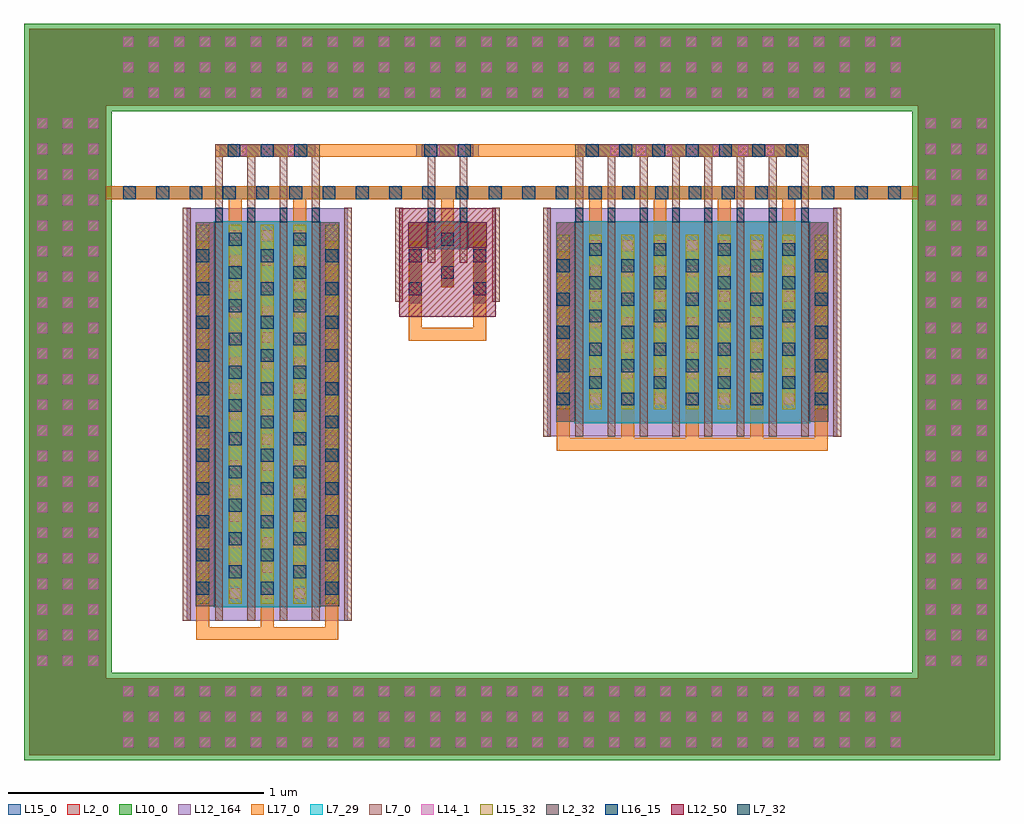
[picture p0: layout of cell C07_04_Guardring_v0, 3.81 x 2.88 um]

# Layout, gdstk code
import gdstk
lib = gdstk.Library(unit=1e-6, precision=1e-09)
def R(c, l, rs):  # rectangles x0, y0, x1, y1
    for r in rs: c.add(gdstk.rectangle(r[:2], r[2:], *l))
def A(c, l, x, y, w, h, nx, ny, dx, dy):  # array of equal rectangles
    R(c, l, [(x+i*dx, y+j*dy, x+i*dx+w, y+j*dy+h) for i in range(nx) for j in range(ny)])
L2_0 = (2, 0)
L2_32 = (2, 32)
L7_0 = (7, 0)
L7_29 = (7, 29)
L7_32 = (7, 32)
L10_0 = (10, 0)
L12_50 = (12, 50)
L12_164 = (12, 164)
L14_1 = (14, 1)
L15_0 = (15, 0)
L15_32 = (15, 32)
L16_15 = (16, 15)
L17_0 = (17, 0)

c07_04_guardring_v0_srf_ = lib.new_cell('C07_04_Guardring_v0:SRF_Tr12Tr3Tr10:SRF_Tr12:SRF_Source_ViaM1M2:SRF_ViaM1M2')
R(c07_04_guardring_v0_srf_, L15_0, [(0,-1.332,0.05,0.082)])
A(c07_04_guardring_v0_srf_, L16_15, 0, -1.3, 0.05, 0.05, 1, 11, 0, 0.13)
R(c07_04_guardring_v0_srf_, L17_0, [(0,-1.332,0.05,0.082)])

c_c07_04_guardring_v0_srf_ = lib.new_cell('C07_04_Guardring_v0:SRF_Tr12Tr3Tr10:SRF_Tr12:SRF_Source_ViaM1M2')
c_c07_04_guardring_v0_srf_.add(gdstk.Reference(c07_04_guardring_v0_srf_, (-0.025,0.625)))

c_c07_04_guardring_v0_srf__ = lib.new_cell('C07_04_Guardring_v0:SRF_Tr12Tr3Tr10:SRF_Tr12:SRF_Drain_ViaM1M2:SRF_ViaM1M2')
R(c_c07_04_guardring_v0_srf__, L15_0, [(0,-1.332,0.05,0.082)])
A(c_c07_04_guardring_v0_srf__, L16_15, 0, -1.3, 0.05, 0.05, 1, 11, 0, 0.13)
R(c_c07_04_guardring_v0_srf__, L17_0, [(0,-1.332,0.05,0.082)])

c_c07_04_guardring_v0_srf___ = lib.new_cell('C07_04_Guardring_v0:SRF_Tr12Tr3Tr10:SRF_Tr12:SRF_Drain_ViaM1M2')
c_c07_04_guardring_v0_srf___.add(gdstk.Reference(c_c07_04_guardring_v0_srf__, (-0.025,0.625)))

c_c07_04_guardring_v0_srf____ = lib.new_cell('C07_04_Guardring_v0:SRF_Tr12Tr3Tr10:SRF_Tr12:SRF_Gate_ViaM0Mx:SRF_ViaM0M1')
R(c_c07_04_guardring_v0_srf____, L7_0, [(-0.01,-0.004,0.25,0.044)])
A(c_c07_04_guardring_v0_srf____, L14_1, 0, 0, 0.04, 0.04, 3, 1, 0.1, 0)
R(c_c07_04_guardring_v0_srf____, L15_0, [(-0.021,-0.005,0.261,0.045)])

c_c07_04_guardring_v0_srf_____ = lib.new_cell('C07_04_Guardring_v0:SRF_Tr12Tr3Tr10:SRF_Tr12:SRF_Gate_ViaM0Mx:SRF_ViaM1M2')
R(c_c07_04_guardring_v0_srf_____, L15_0, [(-0.032,0,0.342,0.05)])
A(c_c07_04_guardring_v0_srf_____, L16_15, 0, 0, 0.05, 0.05, 3, 1, 0.13, 0)
R(c_c07_04_guardring_v0_srf_____, L17_0, [(-0.032,0,0.342,0.05)])

c_c07_04_guardring_v0_srf______ = lib.new_cell('C07_04_Guardring_v0:SRF_Tr12Tr3Tr10:SRF_Tr12:SRF_Gate_ViaM0Mx')
c_c07_04_guardring_v0_srf______.add(gdstk.Reference(c_c07_04_guardring_v0_srf____, (-0.12,-0.02)))
c_c07_04_guardring_v0_srf______.add(gdstk.Reference(c_c07_04_guardring_v0_srf_____, (-0.155,-0.025)))

c_c07_04_guardring_v0_srf_______ = lib.new_cell('C07_04_Guardring_v0:SRF_Tr12Tr3Tr10:SRF_Tr12')
R(c_c07_04_guardring_v0_srf_______, L2_0, [(-0.076,0.057,0.484,1.557)])
R(c_c07_04_guardring_v0_srf_______, L2_32, [(-0.076,0.057,0,1.557), (0.408,0.057,0.484,1.557)])
A(c_c07_04_guardring_v0_srf_______, L7_0, -0.126, 0, 0.03, 1.614, 6, 1, 0.126, 0)
A(c_c07_04_guardring_v0_srf_______, L7_0, 0, 1.614, 0.03, 0.2, 4, 1, 0.126, 0)
R(c_c07_04_guardring_v0_srf_______, L7_0, [(0,1.814,0.408,1.862)])
R(c_c07_04_guardring_v0_srf_______, L7_29, [(-0.005,0.052,0.413,1.562)])
A(c_c07_04_guardring_v0_srf_______, L7_32, 0, 1.557, 0.03, 0.057, 4, 1, 0.126, 0)
R(c_c07_04_guardring_v0_srf_______, L12_164, [(-0.111,0.001,0.519,1.613)])
A(c_c07_04_guardring_v0_srf_______, L14_1, -0.068, 0.087, 0.04, 0.04, 5, 15, 0.126, 0.1)
R(c_c07_04_guardring_v0_srf_______, L15_0, [(-0.073,0.066,-0.023,1.548), (-0.073,0.066,-0.023,1.548), (0.053,0.066,0.103,1.548), (0.053,0.066,0.103,1.548), (0.179,0.066,0.229,1.548), (0.179,0.066,0.229,1.548), (0.305,0.066,0.355,1.548), (0.305,0.066,0.355,1.548), (0.431,0.066,0.481,1.548), (0.431,0.066,0.481,1.548)])
A(c_c07_04_guardring_v0_srf_______, L15_32, -0.073, 0.066, 0.05, 1.482, 5, 1, 0.126, 0)
A(c_c07_04_guardring_v0_srf_______, L17_0, -0.073, -0.025, 0.05, 1.509, 3, 1, 0.252, 0)
R(c_c07_04_guardring_v0_srf_______, L17_0, [(-0.073,-0.075,0.481,-0.025), (0.053,1.548,0.103,1.648), (0.305,1.548,0.355,1.648), (0.053,1.648,0.355,1.698), (0,1.813,0.408,1.863)])
c_c07_04_guardring_v0_srf_______.add(gdstk.Reference(c_c07_04_guardring_v0_srf_, (-0.048,0.777)))
c_c07_04_guardring_v0_srf_______.add(gdstk.Reference(c_c07_04_guardring_v0_srf_, (0.204,0.777)))
c_c07_04_guardring_v0_srf_______.add(gdstk.Reference(c_c07_04_guardring_v0_srf_, (0.456,0.777)))
c_c07_04_guardring_v0_srf_______.add(gdstk.Reference(c_c07_04_guardring_v0_srf___, (0.078,0.841)))
c_c07_04_guardring_v0_srf_______.add(gdstk.Reference(c_c07_04_guardring_v0_srf___, (0.33,0.841)))
c_c07_04_guardring_v0_srf_______.add(gdstk.Reference(c_c07_04_guardring_v0_srf______, (0.204,1.838)))

c_c07_04_guardring_v0_srf________ = lib.new_cell('C07_04_Guardring_v0:SRF_Tr12Tr3Tr10:SRF_Tr3:SRF_Source_ViaM1M2:SRF_ViaM1M2')
R(c_c07_04_guardring_v0_srf________, L15_0, [(0,-0.162,0.05,0.082)])
R(c_c07_04_guardring_v0_srf________, L16_15, [(0,-0.13,0.05,-0.08), (0,0,0.05,0.05)])
R(c_c07_04_guardring_v0_srf________, L17_0, [(0,-0.162,0.05,0.082)])

c_c07_04_guardring_v0_srf_________ = lib.new_cell('C07_04_Guardring_v0:SRF_Tr12Tr3Tr10:SRF_Tr3:SRF_Source_ViaM1M2')
c_c07_04_guardring_v0_srf_________.add(gdstk.Reference(c_c07_04_guardring_v0_srf________, (-0.025,0.04)))

c_c07_04_guardring_v0_srf__________ = lib.new_cell('C07_04_Guardring_v0:SRF_Tr12Tr3Tr10:SRF_Tr3:SRF_Drain_ViaM1M2:SRF_ViaM1M2')
R(c_c07_04_guardring_v0_srf__________, L15_0, [(0,-0.162,0.05,0.082)])
R(c_c07_04_guardring_v0_srf__________, L16_15, [(0,-0.13,0.05,-0.08), (0,0,0.05,0.05)])
R(c_c07_04_guardring_v0_srf__________, L17_0, [(0,-0.162,0.05,0.082)])

c_c07_04_guardring_v0_srf___________ = lib.new_cell('C07_04_Guardring_v0:SRF_Tr12Tr3Tr10:SRF_Tr3:SRF_Drain_ViaM1M2')
c_c07_04_guardring_v0_srf___________.add(gdstk.Reference(c_c07_04_guardring_v0_srf__________, (-0.025,0.04)))

c_c07_04_guardring_v0_srf____________ = lib.new_cell('C07_04_Guardring_v0:SRF_Tr12Tr3Tr10:SRF_Tr3:SRF_Gate_ViaM0Mx:SRF_ViaM0M1')
R(c_c07_04_guardring_v0_srf____________, L7_0, [(-0.01,-0.004,0.15,0.044)])
R(c_c07_04_guardring_v0_srf____________, L14_1, [(0,0,0.04,0.04), (0.1,0,0.14,0.04)])
R(c_c07_04_guardring_v0_srf____________, L15_0, [(-0.021,-0.005,0.161,0.045)])

c_c07_04_guardring_v0_srf_____________ = lib.new_cell('C07_04_Guardring_v0:SRF_Tr12Tr3Tr10:SRF_Tr3:SRF_Gate_ViaM0Mx:SRF_ViaM1M2')
R(c_c07_04_guardring_v0_srf_____________, L15_0, [(-0.032,0,0.212,0.05)])
R(c_c07_04_guardring_v0_srf_____________, L16_15, [(0,0,0.05,0.05), (0.13,0,0.18,0.05)])
R(c_c07_04_guardring_v0_srf_____________, L17_0, [(-0.032,0,0.212,0.05)])

c_c07_04_guardring_v0_srf______________ = lib.new_cell('C07_04_Guardring_v0:SRF_Tr12Tr3Tr10:SRF_Tr3:SRF_Gate_ViaM0Mx')
c_c07_04_guardring_v0_srf______________.add(gdstk.Reference(c_c07_04_guardring_v0_srf____________, (-0.07,-0.02)))
c_c07_04_guardring_v0_srf______________.add(gdstk.Reference(c_c07_04_guardring_v0_srf_____________, (-0.09,-0.025)))

c_c07_04_guardring_v0_srf_______________ = lib.new_cell('C07_04_Guardring_v0:SRF_Tr12Tr3Tr10:SRF_Tr3')
R(c_c07_04_guardring_v0_srf_______________, L2_0, [(-0.076,0.057,0.232,0.157)])
R(c_c07_04_guardring_v0_srf_______________, L2_32, [(-0.076,0.057,0,0.157), (0.156,0.057,0.232,0.157)])
R(c_c07_04_guardring_v0_srf_______________, L7_0, [(-0.126,-0.153,-0.096,0.214), (0.252,-0.153,0.282,0.214), (0,0,0.03,0.214), (0.126,0,0.156,0.214), (0,0.214,0.03,0.414), (0.126,0.214,0.156,0.414), (-0.022,0.414,0.178,0.462)])
R(c_c07_04_guardring_v0_srf_______________, L7_29, [(-0.005,0.052,0.161,0.162)])
R(c_c07_04_guardring_v0_srf_______________, L7_32, [(0,0.157,0.03,0.214), (0.126,0.157,0.156,0.214)])
R(c_c07_04_guardring_v0_srf_______________, L12_50, [(-0.111,-0.211,0.267,0.213)])
A(c_c07_04_guardring_v0_srf_______________, L14_1, -0.068, 0.087, 0.04, 0.04, 3, 1, 0.126, 0)
R(c_c07_04_guardring_v0_srf_______________, L15_0, [(-0.073,0.066,-0.023,0.148), (-0.073,0.066,-0.023,0.148), (0.053,0.066,0.103,0.148), (0.053,0.066,0.103,0.148), (0.179,0.066,0.229,0.148), (0.179,0.066,0.229,0.148)])
A(c_c07_04_guardring_v0_srf_______________, L15_32, -0.073, 0.066, 0.05, 0.082, 3, 1, 0.126, 0)
R(c_c07_04_guardring_v0_srf_______________, L17_0, [(-0.073,-0.305,0.229,-0.255), (-0.073,-0.255,-0.023,0.084), (0.179,-0.255,0.229,0.084), (0.053,0.148,0.103,0.248), (0.053,0.248,0.103,0.298), (-0.064,0.413,0.22,0.463)])
c_c07_04_guardring_v0_srf_______________.add(gdstk.Reference(c_c07_04_guardring_v0_srf_________, (-0.048,-0.038)))
c_c07_04_guardring_v0_srf_______________.add(gdstk.Reference(c_c07_04_guardring_v0_srf_________, (0.204,-0.038)))
c_c07_04_guardring_v0_srf_______________.add(gdstk.Reference(c_c07_04_guardring_v0_srf___________, (0.078,0.026)))
c_c07_04_guardring_v0_srf_______________.add(gdstk.Reference(c_c07_04_guardring_v0_srf______________, (0.078,0.438)))

c_c07_04_guardring_v0_srf________________ = lib.new_cell('C07_04_Guardring_v0:SRF_Tr12Tr3Tr10:SRF_Tr10:SRF_Source_ViaM1M2:SRF_ViaM1M2')
R(c_c07_04_guardring_v0_srf________________, L15_0, [(0,-0.552,0.05,0.082)])
A(c_c07_04_guardring_v0_srf________________, L16_15, 0, -0.52, 0.05, 0.05, 1, 5, 0, 0.13)
R(c_c07_04_guardring_v0_srf________________, L17_0, [(0,-0.552,0.05,0.082)])

c_c07_04_guardring_v0_srf_________________ = lib.new_cell('C07_04_Guardring_v0:SRF_Tr12Tr3Tr10:SRF_Tr10:SRF_Source_ViaM1M2')
c_c07_04_guardring_v0_srf_________________.add(gdstk.Reference(c_c07_04_guardring_v0_srf________________, (-0.025,0.235)))

c_c07_04_guardring_v0_srf__________________ = lib.new_cell('C07_04_Guardring_v0:SRF_Tr12Tr3Tr10:SRF_Tr10:SRF_Drain_ViaM1M2:SRF_ViaM1M2')
R(c_c07_04_guardring_v0_srf__________________, L15_0, [(0,-0.552,0.05,0.082)])
A(c_c07_04_guardring_v0_srf__________________, L16_15, 0, -0.52, 0.05, 0.05, 1, 5, 0, 0.13)
R(c_c07_04_guardring_v0_srf__________________, L17_0, [(0,-0.552,0.05,0.082)])

c_c07_04_guardring_v0_srf___________________ = lib.new_cell('C07_04_Guardring_v0:SRF_Tr12Tr3Tr10:SRF_Tr10:SRF_Drain_ViaM1M2')
c_c07_04_guardring_v0_srf___________________.add(gdstk.Reference(c_c07_04_guardring_v0_srf__________________, (-0.025,0.235)))

c_c07_04_guardring_v0_srf____________________ = lib.new_cell('C07_04_Guardring_v0:SRF_Tr12Tr3Tr10:SRF_Tr10:SRF_Gate_ViaM0Mx:SRF_ViaM0M1')
R(c_c07_04_guardring_v0_srf____________________, L7_0, [(-0.01,-0.004,0.65,0.044)])
A(c_c07_04_guardring_v0_srf____________________, L14_1, 0, 0, 0.04, 0.04, 7, 1, 0.1, 0)
R(c_c07_04_guardring_v0_srf____________________, L15_0, [(-0.021,-0.005,0.661,0.045)])

c_c07_04_guardring_v0_srf_____________________ = lib.new_cell('C07_04_Guardring_v0:SRF_Tr12Tr3Tr10:SRF_Tr10:SRF_Gate_ViaM0Mx:SRF_ViaM1M2')
R(c_c07_04_guardring_v0_srf_____________________, L15_0, [(-0.032,0,0.862,0.05)])
A(c_c07_04_guardring_v0_srf_____________________, L16_15, 0, 0, 0.05, 0.05, 7, 1, 0.13, 0)
R(c_c07_04_guardring_v0_srf_____________________, L17_0, [(-0.032,0,0.862,0.05)])

c_c07_04_guardring_v0_srf______________________ = lib.new_cell('C07_04_Guardring_v0:SRF_Tr12Tr3Tr10:SRF_Tr10:SRF_Gate_ViaM0Mx')
c_c07_04_guardring_v0_srf______________________.add(gdstk.Reference(c_c07_04_guardring_v0_srf____________________, (-0.32,-0.02)))
c_c07_04_guardring_v0_srf______________________.add(gdstk.Reference(c_c07_04_guardring_v0_srf_____________________, (-0.415,-0.025)))

c_c07_04_guardring_v0_srf_______________________ = lib.new_cell('C07_04_Guardring_v0:SRF_Tr12Tr3Tr10:SRF_Tr10')
R(c_c07_04_guardring_v0_srf_______________________, L2_0, [(-0.076,0.057,0.988,0.837)])
R(c_c07_04_guardring_v0_srf_______________________, L2_32, [(-0.076,0.057,0,0.837), (0.912,0.057,0.988,0.837)])
A(c_c07_04_guardring_v0_srf_______________________, L7_0, -0.126, 0, 0.03, 0.894, 10, 1, 0.126, 0)
A(c_c07_04_guardring_v0_srf_______________________, L7_0, 0, 0.894, 0.03, 0.2, 8, 1, 0.126, 0)
R(c_c07_04_guardring_v0_srf_______________________, L7_0, [(0,1.094,0.912,1.142)])
R(c_c07_04_guardring_v0_srf_______________________, L7_29, [(-0.005,0.052,0.917,0.842)])
A(c_c07_04_guardring_v0_srf_______________________, L7_32, 0, 0.837, 0.03, 0.057, 8, 1, 0.126, 0)
R(c_c07_04_guardring_v0_srf_______________________, L12_164, [(-0.111,0.001,1.023,0.893)])
A(c_c07_04_guardring_v0_srf_______________________, L14_1, -0.068, 0.127, 0.04, 0.04, 9, 7, 0.126, 0.1)
R(c_c07_04_guardring_v0_srf_______________________, L15_0, [(-0.073,0.106,-0.023,0.788), (-0.073,0.106,-0.023,0.788), (0.053,0.106,0.103,0.788), (0.053,0.106,0.103,0.788), (0.179,0.106,0.229,0.788), (0.179,0.106,0.229,0.788), (0.305,0.106,0.355,0.788), (0.305,0.106,0.355,0.788), (0.431,0.106,0.481,0.788), (0.431,0.106,0.481,0.788), (0.557,0.106,0.607,0.788), (0.557,0.106,0.607,0.788), (0.683,0.106,0.733,0.788), (0.683,0.106,0.733,0.788), (0.809,0.106,0.859,0.788), (0.809,0.106,0.859,0.788), (0.935,0.106,0.985,0.788), (0.935,0.106,0.985,0.788)])
A(c_c07_04_guardring_v0_srf_______________________, L15_32, -0.073, 0.106, 0.05, 0.682, 9, 1, 0.126, 0)
A(c_c07_04_guardring_v0_srf_______________________, L17_0, -0.073, -0.005, 0.05, 0.729, 5, 1, 0.252, 0)
A(c_c07_04_guardring_v0_srf_______________________, L17_0, 0.053, 0.788, 0.05, 0.14, 4, 1, 0.252, 0)
R(c_c07_04_guardring_v0_srf_______________________, L17_0, [(-0.073,-0.055,0.985,-0.005), (0.053,0.928,0.859,0.978), (0,1.093,0.912,1.143)])
c_c07_04_guardring_v0_srf_______________________.add(gdstk.Reference(c_c07_04_guardring_v0_srf_________________, (-0.048,0.407)))
c_c07_04_guardring_v0_srf_______________________.add(gdstk.Reference(c_c07_04_guardring_v0_srf_________________, (0.204,0.407)))
c_c07_04_guardring_v0_srf_______________________.add(gdstk.Reference(c_c07_04_guardring_v0_srf_________________, (0.456,0.407)))
c_c07_04_guardring_v0_srf_______________________.add(gdstk.Reference(c_c07_04_guardring_v0_srf_________________, (0.708,0.407)))
c_c07_04_guardring_v0_srf_______________________.add(gdstk.Reference(c_c07_04_guardring_v0_srf_________________, (0.96,0.407)))
c_c07_04_guardring_v0_srf_______________________.add(gdstk.Reference(c_c07_04_guardring_v0_srf___________________, (0.078,0.471)))
c_c07_04_guardring_v0_srf_______________________.add(gdstk.Reference(c_c07_04_guardring_v0_srf___________________, (0.33,0.471)))
c_c07_04_guardring_v0_srf_______________________.add(gdstk.Reference(c_c07_04_guardring_v0_srf___________________, (0.582,0.471)))
c_c07_04_guardring_v0_srf_______________________.add(gdstk.Reference(c_c07_04_guardring_v0_srf___________________, (0.834,0.471)))
c_c07_04_guardring_v0_srf_______________________.add(gdstk.Reference(c_c07_04_guardring_v0_srf______________________, (0.456,1.118)))

c_c07_04_guardring_v0_srf________________________ = lib.new_cell('C07_04_Guardring_v0:SRF_Tr12Tr3Tr10')
c_c07_04_guardring_v0_srf________________________.add(gdstk.Reference(c_c07_04_guardring_v0_srf_______, (0,0)))
c_c07_04_guardring_v0_srf________________________.add(gdstk.Reference(c_c07_04_guardring_v0_srf_______________, (0.83,1.4)))
c_c07_04_guardring_v0_srf________________________.add(gdstk.Reference(c_c07_04_guardring_v0_srf_______________________, (1.408,0.72)))

c07_04_guardring_v0__pbo = lib.new_cell('C07_04_Guardring_v0:_Pbodyring:SRF_PbodyTop:SRF_PbodyContactPhyLen')
R(c07_04_guardring_v0__pbo, L2_0, [(-0.066,-0.23,3.106,0.07)])
R(c07_04_guardring_v0__pbo, L10_0, [(-0.087,-0.251,3.127,0.091)])
A(c07_04_guardring_v0__pbo, L14_1, 0, -0.2, 0.04, 0.04, 31, 3, 0.1, 0.1)
R(c07_04_guardring_v0__pbo, L15_0, [(-0.066,-0.23,3.106,0.07)])

c_c07_04_guardring_v0__pbo = lib.new_cell('C07_04_Guardring_v0:_Pbodyring:SRF_PbodyTop')
c_c07_04_guardring_v0__pbo.add(gdstk.Reference(c07_04_guardring_v0__pbo, (0,0)))

c_c07_04_guardring_v0__pbo_ = lib.new_cell('C07_04_Guardring_v0:_Pbodyring:SRF_PbodyBottom:SRF_PbodyContactPhyLen')
R(c_c07_04_guardring_v0__pbo_, L2_0, [(-0.066,-0.23,3.106,0.07)])
R(c_c07_04_guardring_v0__pbo_, L10_0, [(-0.087,-0.251,3.127,0.091)])
A(c_c07_04_guardring_v0__pbo_, L14_1, 0, -0.2, 0.04, 0.04, 31, 3, 0.1, 0.1)
R(c_c07_04_guardring_v0__pbo_, L15_0, [(-0.066,-0.23,3.106,0.07)])

c_c07_04_guardring_v0__pbo__ = lib.new_cell('C07_04_Guardring_v0:_Pbodyring:SRF_PbodyBottom')
c_c07_04_guardring_v0__pbo__.add(gdstk.Reference(c_c07_04_guardring_v0__pbo_, (0,0)))

c_c07_04_guardring_v0__pbo___ = lib.new_cell('C07_04_Guardring_v0:_Pbodyring:SRF_PbodyLeft:SRF_PbodyContactPhyLen')
R(c_c07_04_guardring_v0__pbo___, L2_0, [(-0.03,-2.149,0.27,0.089)])
R(c_c07_04_guardring_v0__pbo___, L10_0, [(-0.051,-2.17,0.291,0.11)])
A(c_c07_04_guardring_v0__pbo___, L14_1, 0, -2.1, 0.04, 0.04, 3, 22, 0.1, 0.1)
R(c_c07_04_guardring_v0__pbo___, L15_0, [(-0.03,-2.149,0.27,0.089)])

c_c07_04_guardring_v0__pbo____ = lib.new_cell('C07_04_Guardring_v0:_Pbodyring:SRF_PbodyLeft')
c_c07_04_guardring_v0__pbo____.add(gdstk.Reference(c_c07_04_guardring_v0__pbo___, (0,0)))

c_c07_04_guardring_v0__pbo_____ = lib.new_cell('C07_04_Guardring_v0:_Pbodyring:SRF_PbodyRight:SRF_PbodyContactPhyLen')
R(c_c07_04_guardring_v0__pbo_____, L2_0, [(-0.03,-2.149,0.27,0.089)])
R(c_c07_04_guardring_v0__pbo_____, L10_0, [(-0.051,-2.17,0.291,0.11)])
A(c_c07_04_guardring_v0__pbo_____, L14_1, 0, -2.1, 0.04, 0.04, 3, 22, 0.1, 0.1)
R(c_c07_04_guardring_v0__pbo_____, L15_0, [(-0.03,-2.149,0.27,0.089)])

c_c07_04_guardring_v0__pbo______ = lib.new_cell('C07_04_Guardring_v0:_Pbodyring:SRF_PbodyRight')
c_c07_04_guardring_v0__pbo______.add(gdstk.Reference(c_c07_04_guardring_v0__pbo_____, (0,0)))

c_c07_04_guardring_v0__pbo_______ = lib.new_cell('C07_04_Guardring_v0:_Pbodyring')
R(c_c07_04_guardring_v0__pbo_______, L2_0, [(-0.366,-2.768,3.406,-2.468), (-0.366,-2.768,-0.066,0.07), (3.106,-2.768,3.406,0.07), (-0.366,-0.23,3.406,0.07)])
R(c_c07_04_guardring_v0__pbo_______, L10_0, [(-0.387,-2.789,3.427,-2.447), (-0.387,-2.789,-0.045,0.091), (3.085,-2.789,3.427,0.091), (-0.387,-0.251,3.427,0.091)])
R(c_c07_04_guardring_v0__pbo_______, L15_0, [(-0.366,-2.768,3.406,-2.468), (-0.366,-2.768,-0.066,0.07), (3.106,-2.768,3.406,0.07), (-0.366,-0.23,3.406,0.07)])
c_c07_04_guardring_v0__pbo_______.add(gdstk.Reference(c_c07_04_guardring_v0__pbo, (0,0)))
c_c07_04_guardring_v0__pbo_______.add(gdstk.Reference(c_c07_04_guardring_v0__pbo__, (0,-2.538)))
c_c07_04_guardring_v0__pbo_______.add(gdstk.Reference(c_c07_04_guardring_v0__pbo____, (-0.336,-0.319)))
c_c07_04_guardring_v0__pbo_______.add(gdstk.Reference(c_c07_04_guardring_v0__pbo______, (3.136,-0.319)))

c_c07_04_guardring_v0_srf_________________________ = lib.new_cell('C07_04_Guardring_v0:SRF_Tr12Tr3Tr10_Drain_ViaM1M2:SRF_ViaM1M2')
R(c_c07_04_guardring_v0_srf_________________________, L15_0, [(-0.032,0,3.072,0.05)])
A(c_c07_04_guardring_v0_srf_________________________, L16_15, 0, 0, 0.05, 0.05, 24, 1, 0.13, 0)
R(c_c07_04_guardring_v0_srf_________________________, L17_0, [(-0.032,0,3.072,0.05)])

c_c07_04_guardring_v0_srf__________________________ = lib.new_cell('C07_04_Guardring_v0:SRF_Tr12Tr3Tr10_Drain_ViaM1M2')
c_c07_04_guardring_v0_srf__________________________.add(gdstk.Reference(c_c07_04_guardring_v0_srf_________________________, (-1.52,-0.025)))

c07_04_guardring_v0 = lib.new_cell('C07_04_Guardring_v0')
R(c07_04_guardring_v0, L15_0, [(-0.426,1.648,2.746,1.698)])
R(c07_04_guardring_v0, L17_0, [(-0.426,1.648,2.746,1.698), (0,1.813,2.32,1.863)])
c07_04_guardring_v0.add(gdstk.Reference(c_c07_04_guardring_v0_srf________________________, (0,0)))
c07_04_guardring_v0.add(gdstk.Reference(c_c07_04_guardring_v0__pbo_______, (-0.36,2.243)))
c07_04_guardring_v0.add(gdstk.Reference(c_c07_04_guardring_v0_srf__________________________, (1.16,1.673)))

lib.write_gds('C07_04_Guardring_v0.gds')
